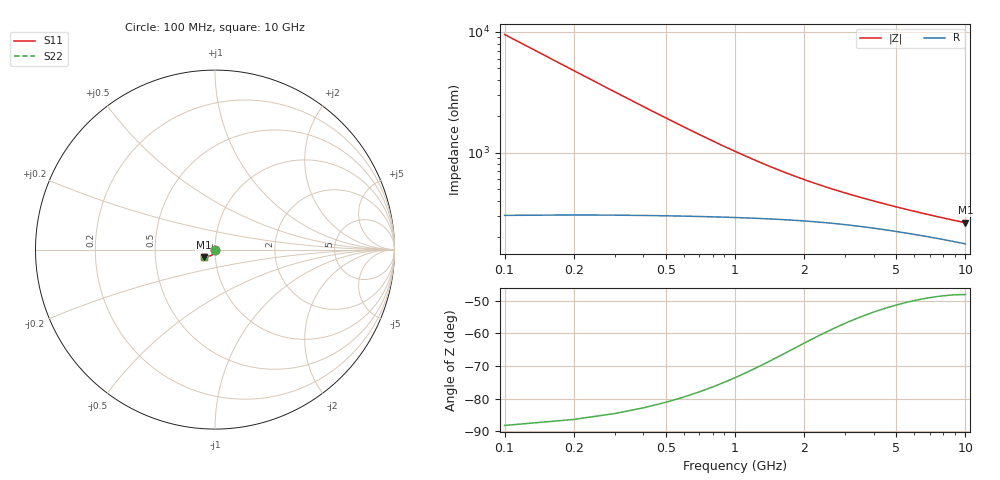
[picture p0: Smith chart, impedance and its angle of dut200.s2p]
! Touchstone file exported from HFSS 2024.1.0
!  File:  C:/UserFiles/LocalFiles/RDL_TSV_Batchsim/temp_TSV1_200_1778766945.aedt
!  Generated:  10:00:21 PM May 14, 2026
!  Design:  TSV1
!  Project:  temp_TSV1_200_1778766945
!  Setup:  Setup1
!  Solution:  Sweep
! Variables:
!  dtsv = 21.8um
!  hbump = 3um
!  htsv = 63.22um
!  lrdl = 252.1521522um
!  p = 40
!  p1 = 55.68um
!  t = 500um
!  trdl = 3um
!  wrdl = 24.89489489um
# GHz S MA R 50.000000
! Terminal data exported
! Port[1] = TSV22_T1
! Port[2] = TSV22_T2
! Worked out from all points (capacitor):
!   100 points, 100 MHz to 10 GHz, reference 50 ohm
!   read as one part in shunt: C = 167 fF near 100 MHz
!   lowest |Z| = 263 ohm at 10 GHz (marker M1)
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0.1  0.002365 -90.5  0.9998 -0.2  0.9998 -0.2  0.002365 -90.5
! Gamma 0 0 0 0
! Port Impedance 50 0 50 0
0.2  0.00472 -93.4  0.9996 -0.3  0.9996 -0.3  0.00472 -93.4
0.3  0.007055 -95.7  0.9991 -0.5  0.9991 -0.5  0.007055 -95.7
0.4  0.009358 -97.8  0.9985 -0.6  0.9985 -0.6  0.009358 -97.8
0.5  0.01162 -99.8  0.9978 -0.8  0.9978 -0.8  0.01162 -99.8
0.6  0.01382 -101.8  0.9969 -0.9  0.9969 -0.9  0.01382 -101.8
0.7  0.01596 -103.7  0.996 -1.1  0.996 -1.1  0.01596 -103.7
0.8  0.01803 -105.5  0.9949 -1.2  0.9949 -1.2  0.01803 -105.5
0.9  0.02003 -107.2  0.9938 -1.3  0.9938 -1.3  0.02003 -107.2
1.1  0.0238 -110.5  0.9914 -1.6  0.9914 -1.6  0.0238 -110.5
1.4  0.02886 -114.9  0.9877 -1.9  0.9877 -1.9  0.02886 -114.9
1.6  0.03187 -117.4  0.9852 -2.1  0.9852 -2.1  0.03187 -117.4
1.8  0.0346 -119.8  0.9828 -2.2  0.9828 -2.2  0.0346 -119.8
2.1  0.03826 -122.8  0.9793 -2.4  0.9793 -2.4  0.03826 -122.8
2.5  0.04246 -126.2  0.975 -2.6  0.975 -2.6  0.04246 -126.2
2.9  0.04605 -129.0  0.9712 -2.8  0.9712 -2.8  0.04605 -129.0
3.4  0.04989 -131.9  0.967 -3.1  0.967 -3.1  0.04989 -131.9
4.2  0.05502 -135.3  0.9613 -3.4  0.9613 -3.4  0.05502 -135.3
5.1  0.05973 -138.2  0.956 -3.7  0.956 -3.7  0.05973 -138.2
6.7  0.06628 -141.9  0.9486 -4.1  0.9486 -4.1  0.06628 -141.9
8.4  0.07153 -144.6  0.9426 -4.6  0.9426 -4.6  0.07153 -144.6
10  0.07541 -146.4  0.9383 -5.1  0.9383 -5.1  0.07541 -146.4
